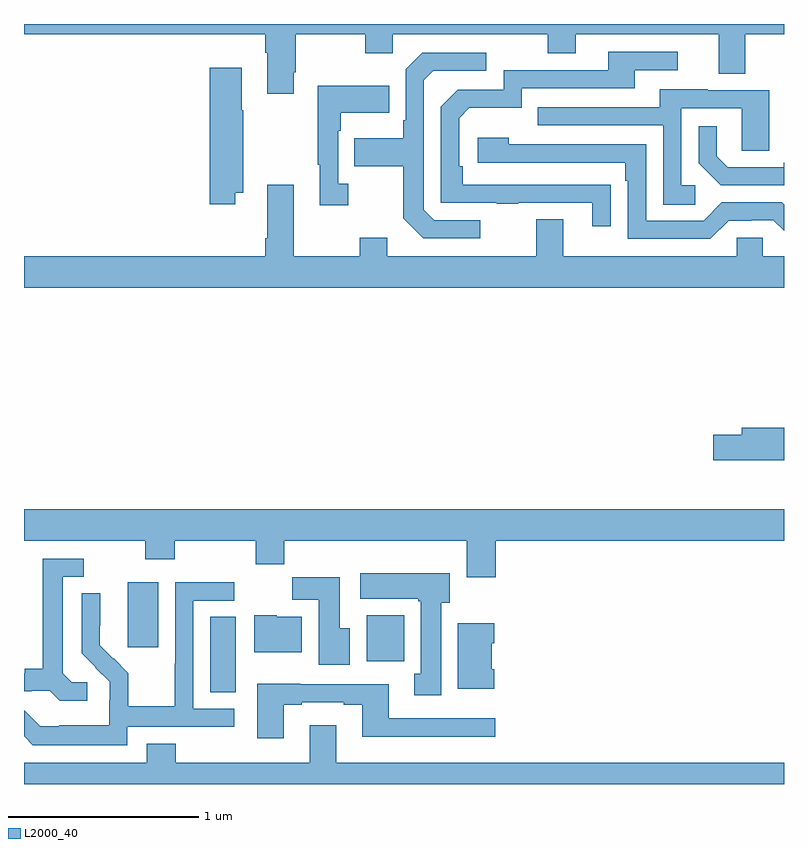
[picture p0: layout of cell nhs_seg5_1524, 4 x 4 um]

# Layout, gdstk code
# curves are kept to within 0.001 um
import gdstk
lib = gdstk.Library(unit=1e-6, precision=1e-09)
def R(c, l, rs):  # rectangles x0, y0, x1, y1
    for r in rs: c.add(gdstk.rectangle(r[:2], r[2:], *l))
def P(c, l, *ps):  # polygons
    for p in ps: c.add(gdstk.Polygon(p, *l))
L2000_40 = (2000, 40)

nhs_seg5_1524 = lib.new_cell('nhs_seg5_1524')
R(nhs_seg5_1524, L2000_40, [(203.981,869.281,204.115,869.678), (204.803,869.444,205,869.686), (203.546,869.52,203.707,869.86)])
P(nhs_seg5_1524, L2000_40, [(204.421,872.545),(204.429,872.545),(204.429,872.744),(204.796,872.744),(204.796,872.645),(204.942,872.645),(204.942,872.744),(205.756,872.744),(205.756,872.645),(205.903,872.645),(205.903,872.744),(206.657,872.744),(206.657,872.536),(206.797,872.536),(206.797,872.744),(207,872.744),(207,872.799),(203,872.799),(203,872.744),(204.269,872.744),(204.269,872.648),(204.281,872.648),(204.281,872.433),(204.421,872.433)],
  [(206.087,871.952),(205.31,871.953),(205.31,872.05),(205.29,872.05),(205.29,872.304),(205.343,872.357),(205.62,872.357),(205.62,872.46),(206.215,872.46),(206.215,872.556),(206.44,872.556),(206.44,872.652),(206.075,872.652),(206.075,872.556),(205.524,872.556),(205.524,872.454),(205.284,872.454),(205.194,872.364),(205.194,871.857),(205.489,871.857),(205.489,871.852),(205.601,871.852),(205.601,871.857),(205.991,871.857),(205.991,871.734),(206.087,871.734)],
  [(205.402,871.767),(205.158,871.767),(205.104,871.821),(205.104,872.502),(205.155,872.553),(205.432,872.553),(205.432,872.649),(205.095,872.649),(205.008,872.562),(205.008,872.293),(204.996,872.293),(204.996,872.197),(204.739,872.197),(204.739,872.05),(204.996,872.05),(204.996,871.777),(205.101,871.671),(205.402,871.671)],
  [(204.112,871.91),(204.153,871.91),(204.153,872.345),(204.145,872.345),(204.145,872.569),(203.978,872.569),(203.978,871.851),(204.112,871.851)],
  [(204.706,871.958),(204.654,871.958),(204.654,872.237),(204.667,872.237),(204.667,872.333),(204.923,872.333),(204.923,872.473),(204.546,872.473),(204.546,872.057),(204.557,872.057),(204.557,871.845),(204.706,871.845)],
  [(206.533,871.95),(206.46,871.95),(206.46,872.355),(206.778,872.355),(206.778,872.131),(206.923,872.131),(206.923,872.451),(206.599,872.451),(206.599,872.455),(206.345,872.455),(206.345,872.361),(205.705,872.361),(205.705,872.265),(206.364,872.265),(206.364,871.849),(206.533,871.849)],
  [(207,872.069),(206.999,872.069),(206.999,872.046),(206.704,872.046),(206.647,872.103),(206.647,872.26),(206.55,872.26),(206.55,872.066),(206.666,871.95),(207,871.95)],
  [(206.709,871.764),(206.828,871.764),(206.828,871.767),(206.943,871.767),(207,871.71),(207,871.848),(206.988,871.86),(206.673,871.86),(206.577,871.764),(206.274,871.764),(206.274,872.166),(205.55,872.166),(205.55,872.2),(205.389,872.2),(205.389,872.07),(206.165,872.07),(206.165,871.973),(206.178,871.973),(206.178,871.668),(206.613,871.668)],
  [(207,871.576),(206.889,871.576),(206.889,871.674),(206.751,871.674),(206.751,871.576),(205.837,871.576),(205.837,871.771),(205.697,871.771),(205.697,871.576),(204.913,871.576),(204.913,871.675),(204.766,871.675),(204.766,871.576),(204.421,871.576),(204.421,871.954),(204.281,871.954),(204.281,871.672),(204.269,871.672),(204.269,871.576),(203,871.576),(203,871.412),(207,871.412)],
  [(207,870.674),(206.777,870.674),(206.777,870.638),(206.628,870.638),(206.628,870.503),(207,870.503)],
  [(205.484,870.08),(207,870.08),(207,870.244),(203,870.244),(203,870.08),(203.638,870.08),(203.638,869.981),(203.793,869.981),(203.793,870.08),(204.22,870.08),(204.22,869.956),(204.371,869.956),(204.371,870.08),(205.331,870.08),(205.331,869.886),(205.484,869.886)],
  [(203.332,869.334),(203.25,869.334),(203.203,869.381),(203.203,869.889),(203.314,869.889),(203.314,869.985),(203.099,869.985),(203.099,869.405),(203.003,869.405),(203.003,869.382),(203,869.382),(203,869.286),(203.042,869.286),(203.042,869.289),(203.136,869.289),(203.188,869.237),(203.332,869.237)],
  [(205.195,869.754),(205.24,869.754),(205.24,869.908),(204.771,869.908),(204.771,869.774),(205.075,869.774),(205.075,869.761),(205.088,869.761),(205.088,869.378),(205.055,869.378),(205.055,869.265),(205.195,869.265)],
  [(204.715,869.62),(204.661,869.62),(204.661,869.887),(204.412,869.887),(204.412,869.768),(204.551,869.768),(204.551,869.427),(204.715,869.427)],
  [(203.544,869.1),(204.106,869.1),(204.106,869.196),(203.892,869.196),(203.892,869.763),(204.106,869.763),(204.106,869.862),(203.796,869.862),(203.796,869.432),(203.794,869.432),(203.794,869.209),(203.549,869.209),(203.549,869.383),(203.472,869.46),(203.469,869.457),(203.399,869.528),(203.399,869.632),(203.401,869.632),(203.401,869.804),(203.304,869.804),(203.304,869.486),(203.45,869.338),(203.45,869.241),(203.448,869.241),(203.448,869.107),(203.185,869.107),(203.185,869.103),(203.085,869.103),(203,869.188),(203,869.05),(203.047,869.003),(203.544,869.003)],
  [(204.463,869.68),(204.33,869.68),(204.33,869.686),(204.212,869.686),(204.212,869.492),(204.463,869.492)],
  [(205.475,869.404),(205.462,869.404),(205.462,869.54),(205.475,869.54),(205.475,869.644),(205.283,869.644),(205.283,869.3),(205.475,869.3)],
  [(204.367,869.217),(204.463,869.217),(204.463,869.229),(204.683,869.229),(204.683,869.217),(204.779,869.217),(204.779,869.048),(205.48,869.048),(205.48,869.145),(204.919,869.145),(204.919,869.325),(204.455,869.325),(204.455,869.326),(204.227,869.326),(204.227,869.04),(204.367,869.04)],
  [(207,868.912),(204.643,868.912),(204.643,869.107),(204.503,869.107),(204.503,868.912),(203.798,868.912),(203.798,869.011),(203.645,869.011),(203.645,868.912),(203,868.912),(203,868.799),(207,868.799)])

lib.write_gds('nhs_seg5_1524.gds')
